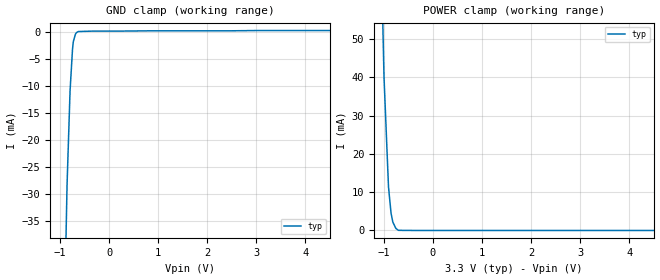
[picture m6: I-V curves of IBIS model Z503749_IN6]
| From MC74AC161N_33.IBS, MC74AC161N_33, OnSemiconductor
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| (C) COPYRIGHT 1993-2000
| MENTOR GRAPHICS CORPORATION
| ICX STANDARD LIBRARY, ICX PROJECT MODELING,
| ICX CUSTOM MODELING, ICX VENDOR MODEL
| ALL RIGHTS RESERVED.
| THE FOLLOWING ARE TRADEMARKS OR SERVICE MARKS OF
| MENTOR GRAPHICS CORPORATION:ICX (R), ICX STANDARD
| LIBRARY(R), ICX PROJECT MODELING(R), ICX CUSTOM
| MODELING(R), qualityIBIS(TM), MODELVIEWER(TM),
| AND MODELEDITOR(TM)
| ALL COPIES OF SOFTWARE, INCLUDING BUT NOT LIMITED TO
| ANY MODIFICATIONS, ENHANCEMENTS OR DERIVATIVE WORKS,
| MUST CONTAIN ALL MENTOR GRAPHICS CORPORATION'S
| NOTICES AND LEGENDS, INCLUDING THOSE EMBEDDED IN
| SOFTWARE AND THOSE AFFIXED TO SOFTWARE MEDIUM
| AND CONTAINER, AS RECEIVED FROM MENTOR GRAPHICS
| CORPORATION.
| Model Application Version 1.89 2/18/99.
[Model] Z503749_IN6
Model_type Input
Vinl = 990.0mV
Vinh = 2.310V
C_comp 4.000pF NA NA
| variable typ   min   max
[Voltage Range] 3.300V NA NA
[GND Clamp Reference] 0.000V NA NA
[POWER Clamp Reference] 3.300V NA NA
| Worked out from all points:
|   GND clamp passes 1 mA (typ) near -0.71 V on its own axis
|   POWER clamp passes 1 mA (typ) near -0.77 V on its own axis
[GND Clamp]
-3.3V     -2.009A    NA         NA
-1.005V   -95.16mA   NA         NA
-858mV    -28.3mA    NA         NA
-797mV    -10.96mA   NA         NA
-747.1mV  -3.23mA    NA         NA
-730.6mV  -1.821mA   NA         NA
-687mV    -412.3uA   NA         NA
-628.4mV  59.38uA    NA         NA
6.6V      245uA      NA         NA
[POWER Clamp]
-3.3V     1.736A     NA         NA
-1.118V   110.7mA    NA         NA
-997mV    40.18mA    NA         NA
-905mV    11.38mA    NA         NA
-854mV    4.607mA    NA         NA
-817mV    2.195mA    NA         NA
-756mV    566.5uA    NA         NA
-718mV    160.8uA    NA         NA
-698mV    36.5uA     NA         NA
-349mV    0A         NA         NA
6.6V      0A         NA         NA
